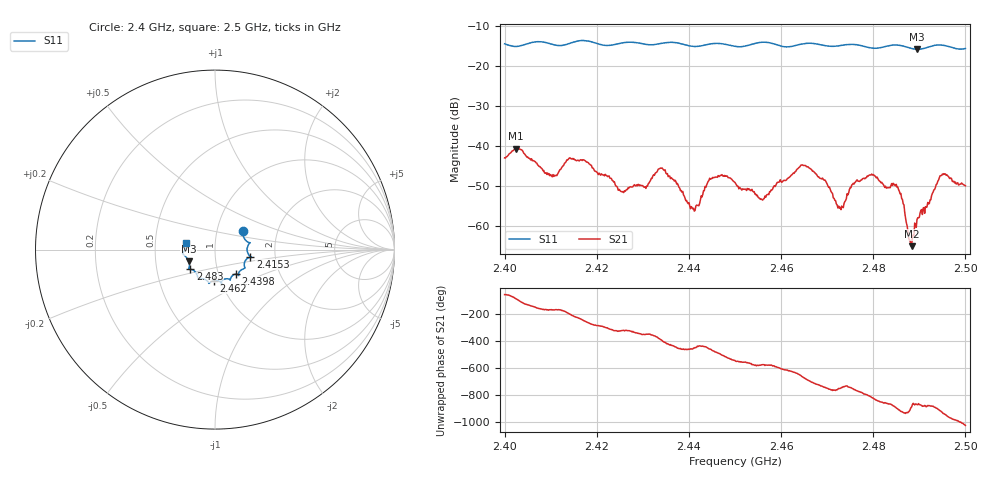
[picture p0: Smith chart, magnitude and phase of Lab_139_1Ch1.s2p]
# Hz S RI R 50
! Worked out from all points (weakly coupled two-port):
!   601 points, 2.4 GHz to 2.5 GHz, reference 50 ohm
!   highest |S21| = -40.75 dB at 2.4025 GHz (marker M1); lowest = -65.1 dB at 2.4883 GHz (marker M2)
!   lowest |S11| = -15.9 dB at 2.4895 GHz (marker M3), VSWR 1.38, Z = 37 - j4.99 ohm
!   |S11| at or under -10 dB: start of sweep to end of sweep
!   S12 and S22 are empty: the file has one direction only
!   S11 on the Smith chart (normalised r, x): 2.4 GHz: 1.33, +0.29; 2.4153 GHz: 1.48, -0.12; 2.4398 GHz: 1.21, -0.34; 2.462 GHz: 0.93, -0.33; 2.483 GHz: 0.74, -0.17; 2.5 GHz: 0.72, +0.06
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2.4e9  0.1549 0.1064  0.0035 -0.00613  0 0  0 0
2.4025e9  0.161 0.0664  -0.000194 -0.00918  0 0  0 0
2.410333e9  0.1838 0.0223  -0.00407 -0.000442  0 0  0 0
2.415333e9  0.1966 -0.0386  -0.00486 0.00458  0 0  0 0
2.416667e9  0.2022 -0.0427  -0.00313 0.00586  0 0  0 0
2.425667e9  0.1663 -0.0992  0.00215 0.00159  0 0  0 0
2.433333e9  0.131 -0.1335  0.00478 -0.00177  0 0  0 0
2.439833e9  0.115 -0.1362  -0.000456 -0.00184  0 0  0 0
2.445e9  0.0847 -0.1683  -0.00133 -0.00366  0 0  0 0
2.45e9  0.0647 -0.1625  -0.00346 0.000324  0 0  0 0
2.455833e9  0.0379 -0.193  -0.00172 0.00125  0 0  0 0
2.462e9  -0.00506 -0.1733  -0.000505 0.00411  0 0  0 0
2.466667e9  -0.0342 -0.1877  0.00481 0.00127  0 0  0 0
2.472833e9  -0.0785 -0.1605  0.00147 -0.000859  0 0  0 0
2.479167e9  -0.1044 -0.132  0.000351 -0.00429  0 0  0 0
2.483e9  -0.1377 -0.1096  -0.0023 -0.00193  0 0  0 0
2.483333e9  -0.1402 -0.1094  -0.00246 -0.0017  0 0  0 0
2.4855e9  -0.1461 -0.1063  -0.0028 0.000362  0 0  0 0
2.488333e9  -0.1425 -0.0819  -0.000541 -0.000132  0 0  0 0
2.4895e9  -0.1462 -0.0658  -0.00103 -0.000613  0 0  0 0
2.494833e9  -0.1801 -0.0202  -0.00392 0.00166  0 0  0 0
2.5e9  -0.1596 0.0393  0.00171 0.00266  0 0  0 0
